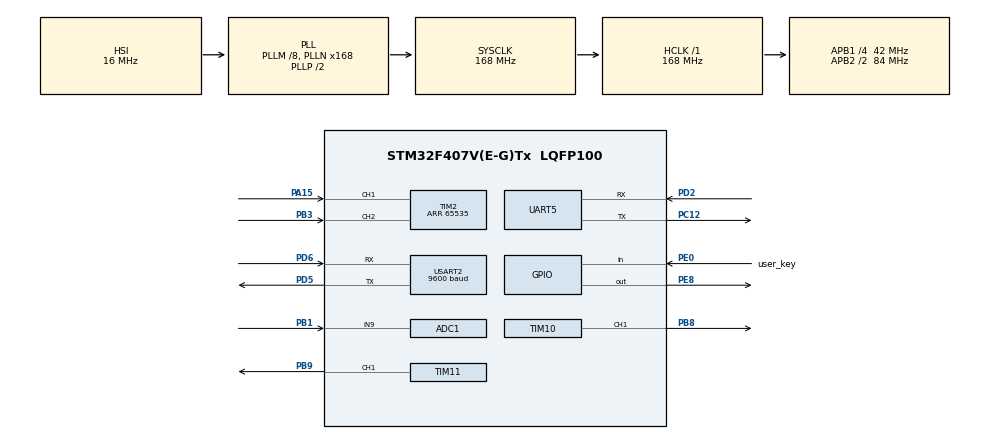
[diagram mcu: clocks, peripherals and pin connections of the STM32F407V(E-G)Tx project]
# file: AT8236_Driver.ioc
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ADC1.Channel-0\#ChannelRegularConversion=ADC_CHANNEL_9
ADC1.NbrOfConversionFlag=1
ADC1.Rank-0\#ChannelRegularConversion=1
ADC1.SamplingTime-0\#ChannelRegularConversion=ADC_SAMPLETIME_56CYCLES
ADC1.master=1
Dma.Request0=USART2_RX
Dma.Request1=USART2_TX
Dma.Request2=UART5_RX
Dma.Request3=UART5_TX
Dma.UART5_RX.2.Direction=DMA_PERIPH_TO_MEMORY
Dma.UART5_RX.2.FIFOMode=DMA_FIFOMODE_DISABLE
Dma.UART5_RX.2.Instance=DMA1_Stream0
Dma.UART5_RX.2.MemDataAlignment=DMA_MDATAALIGN_BYTE
Dma.UART5_RX.2.MemInc=DMA_MINC_ENABLE
Dma.UART5_RX.2.Mode=DMA_NORMAL
Dma.UART5_RX.2.PeriphDataAlignment=DMA_PDATAALIGN_BYTE
Dma.UART5_RX.2.PeriphInc=DMA_PINC_DISABLE
Dma.UART5_RX.2.Priority=DMA_PRIORITY_LOW
Dma.UART5_TX.3.Direction=DMA_MEMORY_TO_PERIPH
Dma.UART5_TX.3.FIFOMode=DMA_FIFOMODE_DISABLE
Dma.UART5_TX.3.Instance=DMA1_Stream7
Dma.UART5_TX.3.MemDataAlignment=DMA_MDATAALIGN_BYTE
Dma.UART5_TX.3.MemInc=DMA_MINC_ENABLE
Dma.UART5_TX.3.Mode=DMA_NORMAL
Dma.UART5_TX.3.PeriphDataAlignment=DMA_PDATAALIGN_BYTE
Dma.UART5_TX.3.PeriphInc=DMA_PINC_DISABLE
Dma.UART5_TX.3.Priority=DMA_PRIORITY_LOW
Dma.USART2_RX.0.Direction=DMA_PERIPH_TO_MEMORY
Dma.USART2_RX.0.FIFOMode=DMA_FIFOMODE_DISABLE
Dma.USART2_RX.0.Instance=DMA1_Stream5
Dma.USART2_RX.0.MemDataAlignment=DMA_MDATAALIGN_BYTE
Dma.USART2_RX.0.MemInc=DMA_MINC_ENABLE
Dma.USART2_RX.0.Mode=DMA_NORMAL
Dma.USART2_RX.0.PeriphDataAlignment=DMA_PDATAALIGN_BYTE
Dma.USART2_RX.0.PeriphInc=DMA_PINC_DISABLE
Dma.USART2_RX.0.Priority=DMA_PRIORITY_LOW
Dma.USART2_TX.1.Direction=DMA_MEMORY_TO_PERIPH
Dma.USART2_TX.1.FIFOMode=DMA_FIFOMODE_DISABLE
Dma.USART2_TX.1.Instance=DMA1_Stream6
Dma.USART2_TX.1.MemDataAlignment=DMA_MDATAALIGN_BYTE
Dma.USART2_TX.1.MemInc=DMA_MINC_ENABLE
Dma.USART2_TX.1.Mode=DMA_NORMAL
Dma.USART2_TX.1.PeriphDataAlignment=DMA_PDATAALIGN_BYTE
Dma.USART2_TX.1.PeriphInc=DMA_PINC_DISABLE
Dma.USART2_TX.1.Priority=DMA_PRIORITY_LOW
Mcu.Family=STM32F4
Mcu.Name=STM32F407V(E-G)Tx
Mcu.Package=LQFP100
NVIC.DMA1_Stream0_IRQn=true\:0\:0\:false\:false\:true\:false\:true\:true
NVIC.DMA1_Stream5_IRQn=true\:0\:0\:false\:false\:true\:false\:true\:true
NVIC.DMA1_Stream6_IRQn=true\:0\:0\:false\:false\:true\:false\:true\:true
NVIC.DMA1_Stream7_IRQn=true\:0\:0\:false\:false\:true\:false\:true\:true
NVIC.PriorityGroup=NVIC_PRIORITYGROUP_4
NVIC.TIM8_BRK_TIM12_IRQn=true\:0\:0\:false\:false\:true\:true\:true\:true
NVIC.UART5_IRQn=true\:0\:0\:false\:false\:true\:true\:true\:true
NVIC.USART2_IRQn=true\:0\:0\:false\:false\:true\:true\:true\:true
PA13.Mode=Serial_Wire
PA13.Signal=SYS_JTMS-SWDIO
PA14.Mode=Serial_Wire
PA14.Signal=SYS_JTCK-SWCLK
PA15.Signal=S_TIM2_CH1_ETR
PB1.Signal=ADCx_IN9
PB3.Signal=S_TIM2_CH2
PB8.Signal=S_TIM10_CH1
PB9.Signal=S_TIM11_CH1
PC12.Mode=Asynchronous
PC12.Signal=UART5_TX
PD2.Mode=Asynchronous
PD2.Signal=UART5_RX
PD5.Mode=Asynchronous
PD5.Signal=USART2_TX
PD6.Mode=Asynchronous
PD6.Signal=USART2_RX
PE0.GPIO_Label=user_key
PE0.Signal=GPIO_Input
PE8.GPIO_ModeDefaultOutputPP=GPIO_MODE_OUTPUT_OD
PE8.GPIO_PuPd=GPIO_NOPULL
PE8.PinState=GPIO_PIN_SET
PE8.Signal=GPIO_Output
PH0-OSC_IN.Mode=HSE-External-Oscillator
PH0-OSC_IN.Signal=RCC_OSC_IN
PH1-OSC_OUT.Mode=HSE-External-Oscillator
PH1-OSC_OUT.Signal=RCC_OSC_OUT
ProjectManager.HeapSize=0x200
ProjectManager.StackSize=0x400
ProjectManager.TargetToolchain=CMake
RCC.48MHZClocksFreq_Value=84000000
RCC.AHBFreq_Value=168000000
RCC.APB1CLKDivider=RCC_HCLK_DIV4
RCC.APB1Freq_Value=42000000
RCC.APB1TimFreq_Value=84000000
RCC.APB2CLKDivider=RCC_HCLK_DIV2
RCC.APB2Freq_Value=84000000
RCC.APB2TimFreq_Value=168000000
RCC.CortexFreq_Value=168000000
RCC.HCLKFreq_Value=168000000
RCC.HSE_VALUE=25000000
RCC.HSI_VALUE=16000000
RCC.LSE_VALUE=32768
RCC.PLLM=8
RCC.PLLN=168
RCC.SYSCLKFreq_VALUE=168000000
RCC.SYSCLKSource=RCC_SYSCLKSOURCE_PLLCLK
RCC.VCOOutputFreq_Value=336000000
SH.ADCx_IN9.0=ADC1_IN9,IN9
SH.S_TIM10_CH1.0=TIM10_CH1,PWM Generation1 CH1
SH.S_TIM11_CH1.0=TIM11_CH1,PWM Generation1 CH1
SH.S_TIM2_CH1_ETR.0=TIM2_CH1,Encoder_Interface
SH.S_TIM2_CH2.0=TIM2_CH2,Encoder_Interface
TIM10.AutoReloadPreload=TIM_AUTORELOAD_PRELOAD_ENABLE
TIM10.Channel=TIM_CHANNEL_1
TIM10.Period=999
TIM10.Prescaler=3
TIM11.AutoReloadPreload=TIM_AUTORELOAD_PRELOAD_ENABLE
TIM11.Channel=TIM_CHANNEL_1
TIM11.Period=999
TIM11.Prescaler=3
TIM12.AutoReloadPreload=TIM_AUTORELOAD_PRELOAD_ENABLE
TIM12.Period=999
TIM12.Prescaler=83
TIM2.EncoderMode=TIM_ENCODERMODE_TI12
TIM2.IC1Filter=8
TIM2.IC2Filter=8
TIM2.IC2Polarity=TIM_ICPOLARITY_FALLING
TIM2.Period=65535
UART5.VirtualMode=Asynchronous
USART2.BaudRate=9600
USART2.VirtualMode=VM_ASYNC
VP_TIM10_VS_ClockSourceINT.Mode=Enable_Timer
VP_TIM11_VS_ClockSourceINT.Mode=Enable_Timer
VP_TIM12_VS_ClockSourceINT.Mode=Internal
board=custom

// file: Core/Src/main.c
/* USER CODE BEGIN Header */
/**
  ******************************************************************************
  * @file           : main.c
  * @brief          : Main program body
  ******************************************************************************
  * @attention
  *
  * Copyright (c) 2026 STMicroelectronics.
  * All rights reserved.
  *
  * This software is licensed under terms that can be found in the LICENSE file
  * in the root directory of this software component.
  * If no LICENSE file comes with this software, it is provided AS-IS.
  *
  ******************************************************************************
  */
/* USER CODE END Header */
#include "main.h"
#include "adc.h"
#include "dma.h"
#include "tim.h"
#include "usart.h"
#include "gpio.h"

/* USER CODE BEGIN Includes */
#include <stdio.h>
#include "app_motor.h"
#include "bsp_encoder.h"
#include "bsp_motor.h"
#include "bsp_user_key.h"
#include "bsp_adc.h"
/* USER CODE END Includes */

/* USER CODE BEGIN PV */
KeyState key_state = KEY_IDLE;

uint8_t pid_control_flag = 0;
uint64_t global_count_tim = 0;
int16_t encoder_speed  = 0;

float Target = 0, Actual, Out;
float Kp = 0.5f, Ki= 0.2f, Kd = 0;
float Error0, Error1, Error2;

/* USER CODE END PV */

void SystemClock_Config(void);

int main(void)
{

  /* MCU Configuration--------------------------------------------------------*/

  /* Reset of all peripherals, Initializes the Flash interface and the Systick. */
  HAL_Init();

  /* USER CODE BEGIN Init */
  //Motor_PID_Init();
  /* USER CODE END Init */

  /* Configure the system clock */
  SystemClock_Config();

  /* Initialize all configured peripherals */
  MX_GPIO_Init();
  MX_DMA_Init();
  MX_TIM10_Init();
  MX_TIM11_Init();
  MX_TIM2_Init();
  MX_USART2_UART_Init();
  MX_UART5_Init();
  MX_TIM12_Init();
  MX_ADC1_Init();
  /* USER CODE BEGIN 2 */
  HAL_TIM_Base_Start_IT(&htim12);
  Motor_Init(&hmotorA);
  Encoder_Init(&hencoderA);
  //Motor_SetSpeed(&hmotorA, 100);
  /* USER CODE END 2 */

  /* Infinite loop */
  /* USER CODE BEGIN WHILE */
  while (1)
  {
    Key_Process();
    Target = AD_GetValue();
    if (pid_control_flag == 1)
    {
      pid_control_flag  = 0;

      Actual = Encoder_GetSpeed_RPM(&hencoderA) / 360 * 100;

      Error2 = Error1;
      Error1 = Error0;
      Error0 = Target - Actual;

      Out += Kp * (Error0 - Error1) + Ki * Error0
          + Kd * (Error0 - 2 * Error1 + Error2);

      if (Out > 100) {Out = 100;}
      if (Out < -100) {Out = -100;}

      Motor_SetSpeed(&hmotorA, Out);

    }

    char uart_buf[40];
    int len = sprintf(uart_buf, "%d,%d,%d\r\n",(int16_t)Target, (int16_t)Actual, (int16_t)Out);
    HAL_UART_Transmit(&huart5, (uint8_t *)uart_buf, len, HAL_MAX_DELAY);
    HAL_Delay(SPEED_MEASURE_PERIOD);
    /* USER CODE END WHILE */

  }
}

void SystemClock_Config(void)
{
  RCC_OscInitTypeDef RCC_OscInitStruct = {0};
  RCC_ClkInitTypeDef RCC_ClkInitStruct = {0};

  /** Configure the main internal regulator output voltage
  */
  __HAL_RCC_PWR_CLK_ENABLE();
  __HAL_PWR_VOLTAGESCALING_CONFIG(PWR_REGULATOR_VOLTAGE_SCALE1);

  /** Initializes the RCC Oscillators according to the specified parameters
  * in the RCC_OscInitTypeDef structure.
  */
  RCC_OscInitStruct.OscillatorType = RCC_OSCILLATORTYPE_HSI;
  RCC_OscInitStruct.HSIState = RCC_HSI_ON;
  RCC_OscInitStruct.HSICalibrationValue = RCC_HSICALIBRATION_DEFAULT;
  RCC_OscInitStruct.PLL.PLLState = RCC_PLL_ON;
  RCC_OscInitStruct.PLL.PLLSource = RCC_PLLSOURCE_HSI;
  RCC_OscInitStruct.PLL.PLLM = 8;
  RCC_OscInitStruct.PLL.PLLN = 168;
  RCC_OscInitStruct.PLL.PLLP = RCC_PLLP_DIV2;
  RCC_OscInitStruct.PLL.PLLQ = 4;
  if (HAL_RCC_OscConfig(&RCC_OscInitStruct) != HAL_OK)
  {
    Error_Handler();
  }

  /** Initializes the CPU, AHB and APB buses clocks
  */
  RCC_ClkInitStruct.ClockType = RCC_CLOCKTYPE_HCLK|RCC_CLOCKTYPE_SYSCLK
                              |RCC_CLOCKTYPE_PCLK1|RCC_CLOCKTYPE_PCLK2;
  RCC_ClkInitStruct.SYSCLKSource = RCC_SYSCLKSOURCE_PLLCLK;
  RCC_ClkInitStruct.AHBCLKDivider = RCC_SYSCLK_DIV1;
  RCC_ClkInitStruct.APB1CLKDivider = RCC_HCLK_DIV4;
  RCC_ClkInitStruct.APB2CLKDivider = RCC_HCLK_DIV2;

  if (HAL_RCC_ClockConfig(&RCC_ClkInitStruct, FLASH_LATENCY_5) != HAL_OK)
  {
    Error_Handler();
  }
}

void Error_Handler(void)
{
  __disable_irq();
  while (1)
  {
  }
}
